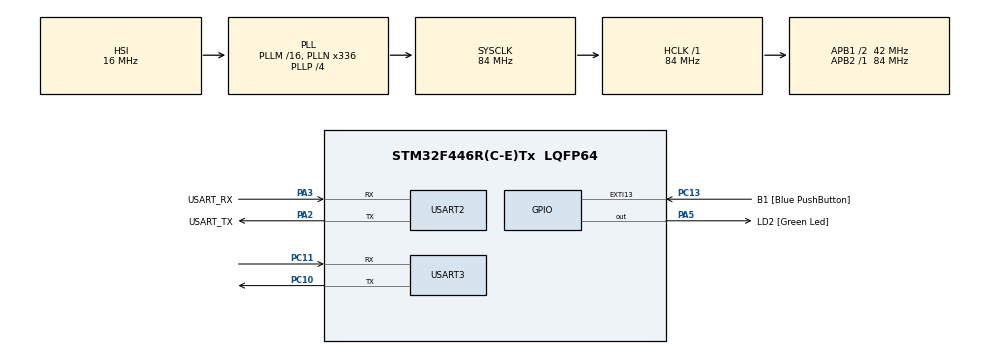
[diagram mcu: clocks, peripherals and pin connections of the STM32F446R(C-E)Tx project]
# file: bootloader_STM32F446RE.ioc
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Mcu.Family=STM32F4
Mcu.Name=STM32F446R(C-E)Tx
Mcu.Package=LQFP64
NVIC.PriorityGroup=NVIC_PRIORITYGROUP_0
PA13.GPIO_Label=TMS
PA13.Mode=Serial_Wire
PA13.Signal=SYS_JTMS-SWDIO
PA14.GPIO_Label=TCK
PA14.Mode=Serial_Wire
PA14.Signal=SYS_JTCK-SWCLK
PA2.GPIO_Label=USART_TX
PA2.Mode=Asynchronous
PA2.Signal=USART2_TX
PA3.GPIO_Label=USART_RX
PA3.Mode=Asynchronous
PA3.Signal=USART2_RX
PA5.GPIO_Label=LD2 [Green Led]
PA5.Signal=GPIO_Output
PB3.GPIO_Label=SWO
PB3.Signal=SYS_JTDO-SWO
PC10.Mode=Asynchronous
PC10.Signal=USART3_TX
PC11.Mode=Asynchronous
PC11.Signal=USART3_RX
PC13.GPIO_Label=B1 [Blue PushButton]
PC13.GPIO_ModeDefaultEXTI=GPIO_MODE_IT_FALLING
PC13.Signal=GPXTI13
PC14-OSC32_IN.Mode=LSE-External-Oscillator
PC14-OSC32_IN.Signal=RCC_OSC32_IN
PC15-OSC32_OUT.Mode=LSE-External-Oscillator
PC15-OSC32_OUT.Signal=RCC_OSC32_OUT
PH0-OSC_IN.Mode=HSE-External-Oscillator
PH0-OSC_IN.Signal=RCC_OSC_IN
PH1-OSC_OUT.Mode=HSE-External-Oscillator
PH1-OSC_OUT.Signal=RCC_OSC_OUT
ProjectManager.HeapSize=0x200
ProjectManager.StackSize=0x400
ProjectManager.TargetToolchain=MDK-ARM V5.32
RCC.48MHZClocksFreq_Value=84000000
RCC.AHBFreq_Value=84000000
RCC.APB1CLKDivider=RCC_HCLK_DIV2
RCC.APB1Freq_Value=42000000
RCC.APB1TimFreq_Value=84000000
RCC.APB2Freq_Value=84000000
RCC.APB2TimFreq_Value=84000000
RCC.CortexFreq_Value=84000000
RCC.FLatency-AdvancedSettings=FLASH_LATENCY_2
RCC.HCLKFreq_Value=84000000
RCC.HSE_VALUE=8000000
RCC.HSI_VALUE=16000000
RCC.PLLN=336
RCC.PLLP=RCC_PLLP_DIV4
RCC.SYSCLKFreq_VALUE=84000000
RCC.SYSCLKSource=RCC_SYSCLKSOURCE_PLLCLK
RCC.USBFreq_Value=168000000
RCC.VCOOutputFreq_Value=336000000
USART2.VirtualMode=VM_ASYNC
USART3.VirtualMode=VM_ASYNC
VP_CRC_VS_CRC.Mode=CRC_Activate
board=NUCLEO-F446RE

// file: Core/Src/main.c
/* USER CODE BEGIN Header */
/**
  ******************************************************************************
  * @file           : main.c
  * @brief          : Main program body
  ******************************************************************************
  * @attention
  *
  * Copyright (c) 2022 STMicroelectronics.
  * All rights reserved.
  *
  * This software is licensed under terms that can be found in the LICENSE file
  * in the root directory of this software component.
  * If no LICENSE file comes with this software, it is provided AS-IS.
  *
  ******************************************************************************
  */
/* USER CODE END Header */
#include "main.h"

/* USER CODE BEGIN Includes */
#include <stdarg.h>
#include <string.h>
#include <stdint.h>
/* USER CODE END Includes */

 CRC_HandleTypeDef hcrc;

UART_HandleTypeDef huart2;
UART_HandleTypeDef huart3;

uint8_t supported_commands[] = {
                               BL_GET_VER ,
                               BL_GET_HELP,
                               BL_GET_CID,
                               BL_GET_RDP_STATUS,
                               BL_GO_TO_ADDR,
                               BL_FLASH_ERASE,
                               BL_MEM_WRITE,
                               BL_READ_SECTOR_P_STATUS} ;

/* USER CODE BEGIN PV */
#define D_UART   &huart3
#define C_UART   &huart2
/* USER CODE END PV */

void SystemClock_Config(void);
static void MX_GPIO_Init(void);
static void MX_USART2_UART_Init(void);
static void MX_USART3_UART_Init(void);
static void MX_CRC_Init(void);
/* USER CODE BEGIN PFP */

 static void printmsg(char *format,...);

 char somedata[] = "Hello from Bootloader\r\n";

 #define BL_RX_LEN	200
 uint8_t bl_rx_buffer[BL_RX_LEN];

/* USER CODE END PFP */

/* USER CODE BEGIN 0 */

//enable this line to get debug messages over debug uart
//#define BL_DEBUG_MSG_EN

/* USER CODE END 0 */

int main(void)
{

  /* MCU Configuration--------------------------------------------------------*/

  /* Reset of all peripherals, Initializes the Flash interface and the Systick. */
  HAL_Init();

  /* Configure the system clock */
  SystemClock_Config();

  /* Initialize all configured peripherals */
  MX_GPIO_Init();
  MX_USART2_UART_Init();
  MX_USART3_UART_Init();
  MX_CRC_Init();

  /* Infinite loop */
  /* USER CODE BEGIN WHILE */

  /* lets check whether button is pressed or not , if not pressed jump to user application*/
	if(HAL_GPIO_ReadPin(B1_GPIO_Port, B1_Pin) == GPIO_PIN_RESET)
	{
		printmsg("BL_DEBUG_MSG:Button is pressed .. going to BL mode\n\r");

		// we should continue in boot loader mode
		bootloader_uart_read_data();
	}
	else
	{
		printmsg("BL_DEBUG_MSG:Button isnot pressed ..executing user app\n");

		bootloader_jump_to_user_app();
	}

	while(1);
  /* USER CODE END 3 */
}

void SystemClock_Config(void)
{
  RCC_OscInitTypeDef RCC_OscInitStruct = {0};
  RCC_ClkInitTypeDef RCC_ClkInitStruct = {0};

  /** Configure the main internal regulator output voltage
  */
  __HAL_RCC_PWR_CLK_ENABLE();
  __HAL_PWR_VOLTAGESCALING_CONFIG(PWR_REGULATOR_VOLTAGE_SCALE3);

  /** Initializes the RCC Oscillators according to the specified parameters
  * in the RCC_OscInitTypeDef structure.
  */
  RCC_OscInitStruct.OscillatorType = RCC_OSCILLATORTYPE_HSI;
  RCC_OscInitStruct.HSIState = RCC_HSI_ON;
  RCC_OscInitStruct.HSICalibrationValue = RCC_HSICALIBRATION_DEFAULT;
  RCC_OscInitStruct.PLL.PLLState = RCC_PLL_ON;
  RCC_OscInitStruct.PLL.PLLSource = RCC_PLLSOURCE_HSI;
  RCC_OscInitStruct.PLL.PLLM = 16;
  RCC_OscInitStruct.PLL.PLLN = 336;
  RCC_OscInitStruct.PLL.PLLP = RCC_PLLP_DIV4;
  RCC_OscInitStruct.PLL.PLLQ = 2;
  RCC_OscInitStruct.PLL.PLLR = 2;
  if (HAL_RCC_OscConfig(&RCC_OscInitStruct) != HAL_OK)
  {
    Error_Handler();
  }

  /** Initializes the CPU, AHB and APB buses clocks
  */
  RCC_ClkInitStruct.ClockType = RCC_CLOCKTYPE_HCLK|RCC_CLOCKTYPE_SYSCLK
                              |RCC_CLOCKTYPE_PCLK1|RCC_CLOCKTYPE_PCLK2;
  RCC_ClkInitStruct.SYSCLKSource = RCC_SYSCLKSOURCE_PLLCLK;
  RCC_ClkInitStruct.AHBCLKDivider = RCC_SYSCLK_DIV1;
  RCC_ClkInitStruct.APB1CLKDivider = RCC_HCLK_DIV2;
  RCC_ClkInitStruct.APB2CLKDivider = RCC_HCLK_DIV1;

  if (HAL_RCC_ClockConfig(&RCC_ClkInitStruct, FLASH_LATENCY_2) != HAL_OK)
  {
    Error_Handler();
  }
}

static void MX_CRC_Init(void)
{

  hcrc.Instance = CRC;
  if (HAL_CRC_Init(&hcrc) != HAL_OK)
  {
    Error_Handler();
  }

}

static void MX_USART2_UART_Init(void)
{

  huart2.Instance = USART2;
  huart2.Init.BaudRate = 115200;
  huart2.Init.WordLength = UART_WORDLENGTH_8B;
  huart2.Init.StopBits = UART_STOPBITS_1;
  huart2.Init.Parity = UART_PARITY_NONE;
  huart2.Init.Mode = UART_MODE_TX_RX;
  huart2.Init.HwFlowCtl = UART_HWCONTROL_NONE;
  huart2.Init.OverSampling = UART_OVERSAMPLING_16;
  if (HAL_UART_Init(&huart2) != HAL_OK)
  {
    Error_Handler();
  }

}

static void MX_USART3_UART_Init(void)
{

  huart3.Instance = USART3;
  huart3.Init.BaudRate = 115200;
  huart3.Init.WordLength = UART_WORDLENGTH_8B;
  huart3.Init.StopBits = UART_STOPBITS_1;
  huart3.Init.Parity = UART_PARITY_NONE;
  huart3.Init.Mode = UART_MODE_TX_RX;
  huart3.Init.HwFlowCtl = UART_HWCONTROL_NONE;
  huart3.Init.OverSampling = UART_OVERSAMPLING_16;
  if (HAL_UART_Init(&huart3) != HAL_OK)
  {
    Error_Handler();
  }

}

static void MX_GPIO_Init(void)
{
  GPIO_InitTypeDef GPIO_InitStruct = {0};

  /* GPIO Ports Clock Enable */
  __HAL_RCC_GPIOC_CLK_ENABLE();
  __HAL_RCC_GPIOH_CLK_ENABLE();
  __HAL_RCC_GPIOA_CLK_ENABLE();
  __HAL_RCC_GPIOB_CLK_ENABLE();

  /*Configure GPIO pin Output Level */
  HAL_GPIO_WritePin(LD2_GPIO_Port, LD2_Pin, GPIO_PIN_RESET);

  /*Configure GPIO pin : B1_Pin */
  GPIO_InitStruct.Pin = B1_Pin;
  GPIO_InitStruct.Mode = GPIO_MODE_IT_FALLING;
  GPIO_InitStruct.Pull = GPIO_NOPULL;
  HAL_GPIO_Init(B1_GPIO_Port, &GPIO_InitStruct);

  /*Configure GPIO pin : LD2_Pin */
  GPIO_InitStruct.Pin = LD2_Pin;
  GPIO_InitStruct.Mode = GPIO_MODE_OUTPUT_PP;
  GPIO_InitStruct.Pull = GPIO_NOPULL;
  GPIO_InitStruct.Speed = GPIO_SPEED_FREQ_LOW;
  HAL_GPIO_Init(LD2_GPIO_Port, &GPIO_InitStruct);

}

/* USER CODE BEGIN 4 */

/* prints formatted string to console over UART */
 void printmsg(char *format,...)
 {
#ifdef BL_DEBUG_MSG_EN
	char str[80];

	/*Extract the the argument list using VA apis */
	va_list args;
	va_start(args, format);
	vsprintf(str, format,args);
	HAL_UART_Transmit(D_UART,(uint8_t *)str, strlen(str),HAL_MAX_DELAY);
	va_end(args);
#endif
 }

void bootloader_uart_read_data(void)
{
	 uint8_t rcv_len = 0;

	while(1)
	{
		memset(bl_rx_buffer, 0, 200);
		// here we will read and decode the command coming from host
		// first read only one byte from the host, which is the "length" field of the comman
		HAL_UART_Receive(C_UART, bl_rx_buffer, 1, HAL_MAX_DELAY);
		rcv_len = bl_rx_buffer[0];
		HAL_UART_Receive(C_UART, &bl_rx_buffer[1], rcv_len, HAL_MAX_DELAY);
		switch(bl_rx_buffer[1])
		{
			case BL_GET_VER:
					bootloader_handle_getver_cmd(bl_rx_buffer);
					break;
			case BL_GET_HELP:
					bootloader_handle_gethelp_cmd(bl_rx_buffer);
					break;
			case BL_GET_CID:
					bootloader_handle_getcid_cmd(bl_rx_buffer);
					break;
			case BL_GET_RDP_STATUS:
					bootloader_handle_getrdp_cmd(bl_rx_buffer);
					break;
			case BL_GO_TO_ADDR:
					bootloader_handle_go_cmd(bl_rx_buffer);
					break;
			case BL_FLASH_ERASE:
					bootloader_handle_flash_erase_cmd(bl_rx_buffer);
					break;
			case BL_MEM_WRITE:
					bootloader_handle_mem_write_cmd(bl_rx_buffer);
					break;
			case BL_EN_RW_PROTECT:
					bootloader_handle_en_rw_protect(bl_rx_buffer);
					break;
			case BL_MEM_READ:
					bootloader_handle_mem_read(bl_rx_buffer);
					break;
			case BL_READ_SECTOR_P_STATUS:
					bootloader_handle_read_sector_protection_status(bl_rx_buffer);
					break;
			case BL_OTP_READ:
					bootloader_handle_read_otp(bl_rx_buffer);
					break;
			case BL_DIS_R_W_PROTECT:
					bootloader_handle_dis_rw_protect(bl_rx_buffer);
					break;
			 default:
					printmsg("BL_DEBUG_MSG:Invalid command code received from host \n");
					break;
		}

	}
}

void bootloader_handle_getver_cmd(uint8_t *bl_rx_buffer)
{
	  uint8_t bl_version;

    // 1) verify the checksum
      printmsg("BL_DEBUG_MSG:bootloader_handle_getver_cmd\n");

	 //Total length of the command packet
	  uint32_t command_packet_len = bl_rx_buffer[0]+1 ;

	  //extract the CRC32 sent by the Host
	  uint32_t host_crc = *((uint32_t * ) (bl_rx_buffer+command_packet_len - 4) ) ;

    if (! bootloader_verify_crc(&bl_rx_buffer[0],command_packet_len-4,host_crc))
    {
        printmsg("BL_DEBUG_MSG:checksum success !!\n");
        // checksum is correct..
        bootloader_send_ack(bl_rx_buffer[0],1);
        bl_version=get_bootloader_version();
        printmsg("BL_DEBUG_MSG:BL_VER : %d %#x\n",bl_version,bl_version);
        bootloader_uart_write_data(&bl_version,1);

    }else
    {
        printmsg("BL_DEBUG_MSG:checksum fail !!\n");
        //checksum is wrong send nack
        bootloader_send_nack();
    }

}

void bootloader_handle_gethelp_cmd(uint8_t *pBuffer)
{
	 printmsg("BL_DEBUG_MSG:bootloader_handle_gethelp_cmd\n");

	//Total length of the command packet
	uint32_t command_packet_len = bl_rx_buffer[0]+1 ;

	//extract the CRC32 sent by the Host
	uint32_t host_crc = *((uint32_t * ) (bl_rx_buffer+command_packet_len - 4) ) ;

	if (! bootloader_verify_crc(&bl_rx_buffer[0],command_packet_len-4,host_crc))
	{
     printmsg("BL_DEBUG_MSG:checksum success !!\n");
     bootloader_send_ack(pBuffer[0],sizeof(supported_commands));
     bootloader_uart_write_data(supported_commands,sizeof(supported_commands) );

	}else
	{
     printmsg("BL_DEBUG_MSG:checksum fail !!\n");
     bootloader_send_nack();
	}

}

void bootloader_handle_getcid_cmd(uint8_t *pBuffer)
{
  uint16_t bl_cid_num = 0;
	printmsg("BL_DEBUG_MSG:bootloader_handle_getcid_cmd\n");

  //Total length of the command packet
	uint32_t command_packet_len = bl_rx_buffer[0]+1 ;

	//extract the CRC32 sent by the Host
	uint32_t host_crc = *((uint32_t * ) (bl_rx_buffer+command_packet_len - 4) ) ;

	if (! bootloader_verify_crc(&bl_rx_buffer[0],command_packet_len-4,host_crc))
	{
     printmsg("BL_DEBUG_MSG:checksum success !!\n");
     bootloader_send_ack(pBuffer[0],2);
     bl_cid_num = get_mcu_chip_id();
     printmsg("BL_DEBUG_MSG:MCU id : %d %#x !!\n",bl_cid_num, bl_cid_num);
     bootloader_uart_write_data((uint8_t *)&bl_cid_num,2);

	}else
	{
     printmsg("BL_DEBUG_MSG:checksum fail !!\n");
     bootloader_send_nack();
	}
}

void bootloader_handle_getrdp_cmd(uint8_t *pBuffer)
{
	  uint8_t rdp_level = 0x00;
    printmsg("BL_DEBUG_MSG:bootloader_handle_getrdp_cmd\n");

    //Total length of the command packet
	uint32_t command_packet_len = bl_rx_buffer[0]+1 ;

	//extract the CRC32 sent by the Host
	uint32_t host_crc = *((uint32_t * ) (bl_rx_buffer+command_packet_len - 4) ) ;

	if (! bootloader_verify_crc(&bl_rx_buffer[0],command_packet_len-4,host_crc))
	{
		printmsg("BL_DEBUG_MSG:checksum success !!\n");
		bootloader_send_ack(pBuffer[0],1);
		rdp_level = get_flash_rdp_level();
		printmsg("BL_DEBUG_MSG:RDP level: %d %#x\n",rdp_level,rdp_level);
		bootloader_uart_write_data(&rdp_level,1);

	}else
	{
		printmsg("BL_DEBUG_MSG:checksum fail !!\n");
		bootloader_send_nack();
	}

}

void bootloader_handle_go_cmd(uint8_t *pBuffer)
{
	uint32_t go_address=0;
	uint8_t addr_valid = ADDR_VALID;
	uint8_t addr_invalid = ADDR_INVALID;

	printmsg("BL_DEBUG_MSG:bootloader_handle_go_cmd\n");

    //Total length of the command packet
	uint32_t command_packet_len = bl_rx_buffer[0]+1 ;

	//extract the CRC32 sent by the Host
	uint32_t host_crc = *((uint32_t * ) (bl_rx_buffer+command_packet_len - 4) ) ;

	if (! bootloader_verify_crc(&bl_rx_buffer[0],command_packet_len-4,host_crc))
	{
		printmsg("BL_DEBUG_MSG:checksum success !!\n");

		bootloader_send_ack(pBuffer[0],1);

		//extract the go address
		go_address = *((uint32_t *)&pBuffer[2] );
		printmsg("BL_DEBUG_MSG:GO addr: %#x\n",go_address);

		if( verify_address(go_address) == ADDR_VALID )
		{
				//tell host that address is fine
				bootloader_uart_write_data(&addr_valid,1);

				/*jump to "go" address.
				we dont care what is being done there.
				host must ensure that valid code is present over there
				Its not the duty of bootloader. so just trust and jump */

				/* Not doing the below line will result in hardfault exception for ARM cortex M */
				//watch : https://www.youtube.com/watch?v=VX_12SjnNhY

				go_address+=1; //make T bit =1

				void (*lets_jump)(void) = (void *)go_address;

				printmsg("BL_DEBUG_MSG: jumping to go address! \n");

				lets_jump();

		}else
		{
				printmsg("BL_DEBUG_MSG:GO addr invalid ! \n");
				//tell host that address is invalid
				bootloader_uart_write_data(&addr_invalid,1);
		}

	}else
	{
		printmsg("BL_DEBUG_MSG:checksum fail !!\n");
		bootloader_send_nack();
	}

}

void bootloader_handle_flash_erase_cmd(uint8_t *pBuffer)
{
	 uint8_t erase_status = 0x00;
   printmsg("BL_DEBUG_MSG:bootloader_handle_flash_erase_cmd\n");

    //Total length of the command packet
	uint32_t command_packet_len = bl_rx_buffer[0]+1 ;

	//extract the CRC32 sent by the Host
	uint32_t host_crc = *((uint32_t * ) (bl_rx_buffer+command_packet_len - 4) ) ;

	if (! bootloader_verify_crc(&bl_rx_buffer[0],command_packet_len-4,host_crc))
	{
        printmsg("BL_DEBUG_MSG:checksum success !!\n");
        bootloader_send_ack(pBuffer[0],1);
        printmsg("BL_DEBUG_MSG:initial_sector : %d  no_ofsectors: %d\n",pBuffer[2],pBuffer[3]);

        HAL_GPIO_WritePin(LD2_GPIO_Port, LD2_Pin,1);
        erase_status = execute_flash_erase(pBuffer[2] , pBuffer[3]);
        HAL_GPIO_WritePin(LD2_GPIO_Port, LD2_Pin,0);

        printmsg("BL_DEBUG_MSG: flash erase status: %#x\n",erase_status);

        bootloader_uart_write_data(&erase_status,1);

	}else
	{
        printmsg("BL_DEBUG_MSG:checksum fail !!\n");
        bootloader_send_nack();
	}
}

void bootloader_handle_mem_write_cmd(uint8_t *pBuffer)
{

}

void bootloader_handle_en_rw_protect(uint8_t *pBuffer)
{

}

void bootloader_handle_mem_read (uint8_t *pBuffer)
{

}

void bootloader_handle_read_sector_protection_status(uint8_t *pBuffer)
{

}

void bootloader_handle_read_otp(uint8_t *pBuffer)
{

}

void bootloader_handle_dis_rw_protect(uint8_t *pBuffer)
{

}

void bootloader_send_ack(uint8_t command_code, uint8_t follow_len)
{
		//here we send 2 byte.. first byte is ack and the second byte is len value
	uint8_t ack_buf[2];
	ack_buf[0] = BL_ACK;
	ack_buf[1] = follow_len;
	HAL_UART_Transmit(C_UART,ack_buf,2,HAL_MAX_DELAY);
}

void bootloader_send_nack(void)
{
	uint8_t nack = BL_NACK;
	HAL_UART_Transmit(C_UART,&nack,1,HAL_MAX_DELAY);
}

uint8_t bootloader_verify_crc (uint8_t *pData, uint32_t len,uint32_t crc_host)
{
	 uint32_t uwCRCValue=0xff;

  for (uint32_t i=0 ; i < len ; i++)
	{
        uint32_t i_data = pData[i];
        uwCRCValue = HAL_CRC_Accumulate(&hcrc, &i_data, 1);
	}

	 /* Reset CRC Calculation Unit */
  __HAL_CRC_DR_RESET(&hcrc);

	if( uwCRCValue == crc_host)
	{
		return VERIFY_CRC_SUCCESS;
	}

	return VERIFY_CRC_FAIL;
}

uint8_t get_bootloader_version(void)
{
	return (uint8_t)BL_VERSION;
}

void bootloader_uart_write_data(uint8_t *pBuffer,uint32_t len)
{
		HAL_UART_Transmit(C_UART,pBuffer,len,HAL_MAX_DELAY);
}

uint16_t get_mcu_chip_id(void)
{
	/*
	The STM32F446xx MCUs integrate an MCU ID code. This ID identifies the ST MCU partnumber
	and the die revision. It is part of the DBG_MCU component and is mapped on the
	external PPB bus (see Section 33.16 on page 1304). This code is accessible using the
	JTAG debug pCat.2ort (4 to 5 pins) or the SW debug port (two pins) or by the user software.
	It is even accessible while the MCU is under system reset. */
	uint16_t cid;
	cid = (uint16_t)(DBGMCU->IDCODE) & 0x0FFF;
	return  cid;

}

uint8_t get_flash_rdp_level(void)
{
		uint8_t rdp_status=0;
#if 0
	FLASH_OBProgramInitTypeDef  ob_handle;
	HAL_FLASHEx_OBGetConfig(&ob_handle);
	rdp_status = (uint8_t)ob_handle.RDPLevel;
#else

	 volatile uint32_t *pOB_addr = (uint32_t*) 0x1FFFC000;
	 rdp_status =  (uint8_t)(*pOB_addr >> 8) ;
#endif

	return rdp_status;
}

uint8_t verify_address(uint32_t go_address)
{
	//so, what are the valid addresses to which we can jump ?
	//can we jump to system memory ? yes
	//can we jump to sram1 memory ?  yes
	//can we jump to sram2 memory ? yes
	//can we jump to backup sram memory ? yes
	//can we jump to peripheral memory ? its possible , but dont allow. so no
	//can we jump to external memory ? yes.

//incomplete -poorly written .. optimize it
	if ( go_address >= SRAM1_BASE && go_address <= SRAM1_END)
	{
		return ADDR_VALID;
	}
	else if ( go_address >= SRAM2_BASE && go_address <= SRAM2_END)
	{
		return ADDR_VALID;
	}
	else if ( go_address >= FLASH_BASE && go_address <= FLASH_END)
	{
		return ADDR_VALID;
	}
	else if ( go_address >= BKPSRAM_BASE && go_address <= BKPSRAM_END)
	{
		return ADDR_VALID;
	}
	else
		return ADDR_INVALID;
}

uint8_t execute_flash_erase(uint8_t sector_number , uint8_t number_of_sector)
{
   //we have totally 8 sectors in STM32F446RE mcu .. sector[0 to 7]
	//number_of_sector has to be in the range of 0 to 7
	// if sector_number = 0xff , that means mass erase !
	//Code needs to modified if your MCU supports more flash sectors
	FLASH_EraseInitTypeDef flashErase_handle;
	uint32_t sectorError;
	HAL_StatusTypeDef status;

	if( number_of_sector > 8 )
		return INVALID_SECTOR;

	if( (sector_number == 0xff ) || (sector_number <= 7) )
	{
		if(sector_number == (uint8_t) 0xff)
		{
			flashErase_handle.TypeErase = FLASH_TYPEERASE_MASSERASE;
		}else
		{
		    /*Here we are just calculating how many sectors needs to erased */
			uint8_t remanining_sector = 8 - sector_number;
            if( number_of_sector > remanining_sector)
            {
            	number_of_sector = remanining_sector;
            }
			flashErase_handle.TypeErase = FLASH_TYPEERASE_SECTORS;
			flashErase_handle.Sector = sector_number; // this is the initial sector
			flashErase_handle.NbSectors = number_of_sector;
		}
		flashErase_handle.Banks = FLASH_BANK_1;

		/*Get access to touch the flash registers */
		HAL_FLASH_Unlock();
		flashErase_handle.VoltageRange = FLASH_VOLTAGE_RANGE_3;  // our mcu will work on this voltage range
		status = (uint8_t) HAL_FLASHEx_Erase(&flashErase_handle, &sectorError);
		HAL_FLASH_Lock();

		return status;
	}

	return INVALID_SECTOR;
}

uint8_t execute_mem_write(uint8_t *pBuffer, uint32_t mem_address, uint32_t len)
{
	return 0;
}

uint8_t configure_flash_sector_rw_protection(uint8_t sector_details, uint8_t protection_mode, uint8_t disable)
{
	return 0;
}

uint16_t read_OB_rw_protection_status(void)
{
	return 0;
}

void bootloader_jump_to_user_app(void)
{
	// just a function to hold the address of the reset handler of the user app
	void(*app_reset_handler)(void);

	printmsg("BL_DEBUG_MSG:bootloader_jump_tp_user_app\n");

	// 1. configure the MSP by reading the value from the base address of the sector 2
	uint32_t msp_value = *(volatile uint32_t*) FLASH_SECTOR2_BASE_ADDRESS;
	printmsg("BL_DEBUG_MSG:MSP value: %#x\n", msp_value);

	// this function comes from CMSIS
	__set_MSP(msp_value);

	//SCB->VTOR = FLASH_SECTOR2_BASE_ADDRES;

	/* 2. Now fetch the reset handler address of the user application
	 * from the location FLASH_SECTOR2_BASE_ADDRESS
	 */
	uint32_t resethandler = *(volatile uint32_t*)(FLASH_SECTOR2_BASE_ADDRESS + 4);
	app_reset_handler = (void*)resethandler;
	printmsg("BL_DEBUG_MSG: app reset handler addr : %#x\n", app_reset_handler);

	// 3. jump to reset handler of the application
	app_reset_handler();

}

/* USER CODE END 4 */

void Error_Handler(void)
{
  __disable_irq();
  while (1)
  {
  }
}
